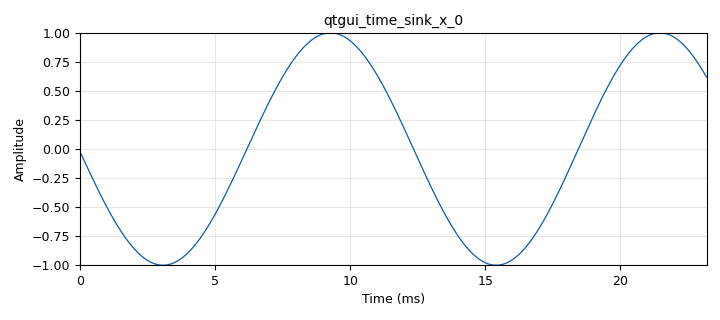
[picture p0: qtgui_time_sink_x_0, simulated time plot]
options:
  parameters:
    author: admin
    generate_options: qt_gui
    id: sweep1
    output_language: python
    title: Not titled yet
  states: {}

blocks:
- name: samp_rate
  id: variable
  parameters:
    value: '44100'
  states: {}
- name: analog_const_source_x_0
  id: analog_const_source_x
  parameters:
    const: '1.5'
    type: float
  states: {}
- name: analog_sig_source_x_0
  id: analog_sig_source_x
  parameters:
    amp: '1'
    freq: '1'
    offset: '0'
    phase: '0'
    samp_rate: samp_rate
    type: float
    waveform: analog.GR_COS_WAVE
  states: {}
- name: audio_sink_0
  id: audio_sink
  parameters:
    samp_rate: samp_rate
  states: {}
- name: blocks_add_xx_0
  id: blocks_add_xx
  parameters:
    type: float
  states: {}
- name: blocks_vco_f_0
  id: blocks_vco_f
  parameters:
    amplitude: '1'
    samp_rate: samp_rate
    sensitivity: '1000'
  states: {}
- name: qtgui_time_sink_x_0
  id: qtgui_time_sink_x
  parameters:
    grid: 'True'
    legend: 'False'
    size: '1024'
    srate: samp_rate
    type: float
    update_time: '0.01'
  states: {}

connections:
- [analog_const_source_x_0, '0', blocks_add_xx_0, '1']
- [analog_sig_source_x_0, '0', blocks_add_xx_0, '0']
- [blocks_add_xx_0, '0', blocks_vco_f_0, '0']
- [blocks_vco_f_0, '0', audio_sink_0, '0']
- [blocks_vco_f_0, '0', qtgui_time_sink_x_0, '0']

metadata:
  file_format: 1
  grc_version: 3.10.12.0
